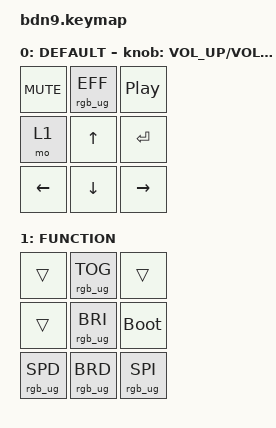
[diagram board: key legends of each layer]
#include <behaviors.dtsi>
#include <dt-bindings/zmk/keys.h>
#include <dt-bindings/zmk/rgb.h>

/ {
    sensors {
        compatible = "zmk,keymap-sensors";
        sensors = <&left_encoder>;
    };

    keymap {
        compatible = "zmk,keymap";

        default_layer {
            label = "DEFAULT";

            bindings = <
                &kp C_MUTE  &rgb_ug RGB_EFF &kp C_PP
                &mo 1       &kp UP          &kp RETURN
                &kp LEFT    &kp DOWN        &kp RIGHT
            >;

            sensor-bindings = <&inc_dec_kp C_VOL_UP C_VOL_DN>;
        };

        function_layer {
            label = "FUNCTION";

            bindings = <
                &trans          &rgb_ug RGB_TOG &trans 
                &trans          &rgb_ug RGB_BRI &bootloader 
                &rgb_ug RGB_SPD &rgb_ug RGB_BRD &rgb_ug RGB_SPI 
            >;
        };
    };
};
